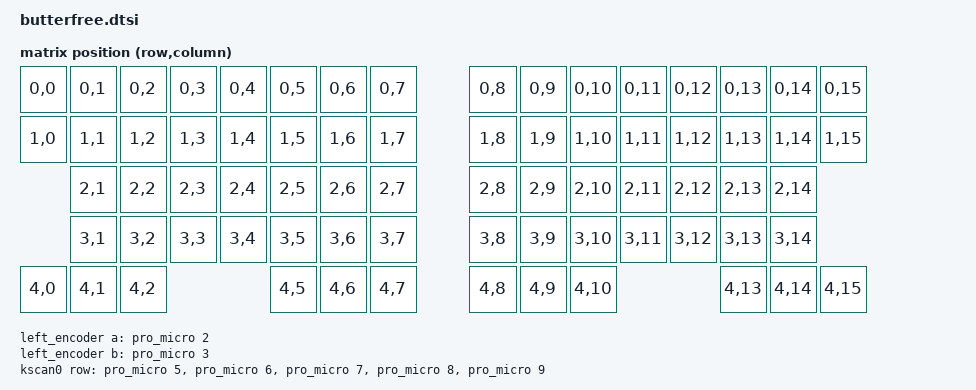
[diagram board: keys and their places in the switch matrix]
#include <physical_layouts.dtsi>
#include <dt-bindings/zmk/matrix_transform.h>

/ {
    chosen {
        zmk,physical-layout = &physical_layout0;
        zmk,kscan = &kscan0;
    };

    left_encoder: encoder_left {
        compatible = "alps,ec11";
        a-gpios = <&pro_micro 2 (GPIO_ACTIVE_HIGH | GPIO_PULL_UP)>;
        b-gpios = <&pro_micro 3 (GPIO_ACTIVE_HIGH | GPIO_PULL_UP)>;
        steps = <80>;
        status = "disabled";
    };
    
    sensors: sensors {
        compatible = "zmk,keymap-sensors";
        sensors = <&left_encoder>;
        triggers-per-rotation = <20>;
    };


    kscan0: kscan0 {
        compatible = "zmk,kscan-gpio-matrix";
        diode-direction = "col2row";
        wakeup-source;

        row-gpios
            = <&pro_micro 5 (GPIO_ACTIVE_HIGH | GPIO_PULL_DOWN)>
            , <&pro_micro 6 (GPIO_ACTIVE_HIGH | GPIO_PULL_DOWN)>
            , <&pro_micro 7 (GPIO_ACTIVE_HIGH | GPIO_PULL_DOWN)>
            , <&pro_micro 8 (GPIO_ACTIVE_HIGH | GPIO_PULL_DOWN)>
            , <&pro_micro 9 (GPIO_ACTIVE_HIGH | GPIO_PULL_DOWN)>
            ;

    };
    default_transform: keymap_transform_0 {
        compatible = "zmk,matrix-transform";
        columns = <16>;
        rows = <5>;
        map = <
RC(0,0) RC(0,1) RC(0,2) RC(0,3) RC(0,4) RC(0,5) RC(0,6) RC(0,7)         RC(0,8) RC(0,9) RC(0,10) RC(0,11) RC(0,12) RC(0,13) RC(0,14) RC(0,15)
RC(1,0) RC(1,1) RC(1,2) RC(1,3) RC(1,4) RC(1,5) RC(1,6) RC(1,7)         RC(1,8) RC(1,9) RC(1,10) RC(1,11) RC(1,12) RC(1,13) RC(1,14) RC(1,15)
        RC(2,1) RC(2,2) RC(2,3) RC(2,4) RC(2,5) RC(2,6) RC(2,7)         RC(2,8) RC(2,9) RC(2,10) RC(2,11) RC(2,12) RC(2,13) RC(2,14)
        RC(3,1) RC(3,2) RC(3,3) RC(3,4) RC(3,5) RC(3,6) RC(3,7)         RC(3,8) RC(3,9) RC(3,10) RC(3,11) RC(3,12) RC(3,13) RC(3,14)
RC(4,0) RC(4,1) RC(4,2)                 RC(4,5) RC(4,6) RC(4,7)         RC(4,8) RC(4,9) RC(4,10)                   RC(4,13) RC(4,14) RC(4,15) 
        >;
    };
    physical_layout0: physical_layout_0 {
        compatible = "zmk,physical-layout";
        display-name = "LAYOUT";

        kscan = <&kscan0>;
        transform = <&default_transform>;

        keys  //                     w   h    x    y     rot    rx    ry
            = <&key_physical_attrs 150 100    0   50       0     0     0>
            , <&key_physical_attrs 100 100  150   50       0     0     0>
            , <&key_physical_attrs 100 100  250   50       0     0     0>
            , <&key_physical_attrs 100 100  350   50       0     0     0>
            , <&key_physical_attrs 100 100  450   25       0     0     0>
            , <&key_physical_attrs 100 100  550    0       0     0     0>
            , <&key_physical_attrs 100 100  650   20       0     0     0>
            , <&key_physical_attrs 100 100  750   50       0     0     0>
            , <&key_physical_attrs 100 100 1125   50       0     0     0>
            , <&key_physical_attrs 100 100 1225   25       0     0     0>
            , <&key_physical_attrs 100 100 1325    0       0     0     0>
            , <&key_physical_attrs 100 100 1425   25       0     0     0>
            , <&key_physical_attrs 100 100 1525   50       0     0     0>
            , <&key_physical_attrs 100 100 1625   50       0     0     0>
            , <&key_physical_attrs 100 100 1725   50       0     0     0>
            , <&key_physical_attrs 150 100 1825   50       0     0     0>
            , <&key_physical_attrs 150 100    0  150       0     0     0>
            , <&key_physical_attrs 100 100  150  150       0     0     0>
            , <&key_physical_attrs 100 100  250  150       0     0     0>
            , <&key_physical_attrs 100 100  350  150       0     0     0>
            , <&key_physical_attrs 100 100  450  125       0     0     0>
            , <&key_physical_attrs 100 100  550  100       0     0     0>
            , <&key_physical_attrs 100 100  650  120       0     0     0>
            , <&key_physical_attrs 100 100  750  150       0     0     0>
            , <&key_physical_attrs 100 100 1125  150       0     0     0>
            , <&key_physical_attrs 100 100 1225  125       0     0     0>
            , <&key_physical_attrs 100 100 1325  100       0     0     0>
            , <&key_physical_attrs 100 100 1425  125       0     0     0>
            , <&key_physical_attrs 100 100 1525  150       0     0     0>
            , <&key_physical_attrs 100 100 1625  150       0     0     0>
            , <&key_physical_attrs 100 100 1725  150       0     0     0>
            , <&key_physical_attrs 150 100 1825  150       0     0     0>
            , <&key_physical_attrs 150 100  100  250       0     0     0>
            , <&key_physical_attrs 100 100  250  250       0     0     0>
            , <&key_physical_attrs 100 100  350  250       0     0     0>
            , <&key_physical_attrs 100 100  450  225       0     0     0>
            , <&key_physical_attrs 100 100  550  200       0     0     0>
            , <&key_physical_attrs 100 100  650  220       0     0     0>
            , <&key_physical_attrs 100 100  750  250       0     0     0>
            , <&key_physical_attrs 100 100 1125  250       0     0     0>
            , <&key_physical_attrs 100 100 1225  225       0     0     0>
            , <&key_physical_attrs 100 100 1325  200       0     0     0>
            , <&key_physical_attrs 100 100 1425  225       0     0     0>
            , <&key_physical_attrs 100 100 1525  250       0     0     0>
            , <&key_physical_attrs 100 100 1625  250       0     0     0>
            , <&key_physical_attrs 150 100 1725  250       0     0     0>
            , <&key_physical_attrs 100 100  100  350       0     0     0>
            , <&key_physical_attrs 150 100  200  350       0     0     0>
            , <&key_physical_attrs 100 100  350  350       0     0     0>
            , <&key_physical_attrs 100 100  450  325       0     0     0>
            , <&key_physical_attrs 100 100  550  300       0     0     0>
            , <&key_physical_attrs 100 100  650  320       0     0     0>
            , <&key_physical_attrs 100 100  750  350       0     0     0>
            , <&key_physical_attrs 100 100  750  350       0     0     0>
            , <&key_physical_attrs 100 100 1125  350       0     0     0>
            , <&key_physical_attrs 100 100 1225  325       0     0     0>
            , <&key_physical_attrs 100 100 1325  300       0     0     0>
            , <&key_physical_attrs 100 100 1425  325       0     0     0>
            , <&key_physical_attrs 100 100 1525  350       0     0     0>
            , <&key_physical_attrs 150 100 1625  350       0     0     0>
            , <&key_physical_attrs 100 100 1775  350       0     0     0>
            , <&key_physical_attrs 100 100    0  450       0     0     0>
            , <&key_physical_attrs 100 100  100  450       0     0     0>
            , <&key_physical_attrs 100 100  200  450       0     0     0>
            , <&key_physical_attrs 100 100  580  460       0     0     0>
            , <&key_physical_attrs 100 100  710  422    1500   550   450>
            , <&key_physical_attrs 100 150  825  300    3000   550   450>
            , <&key_physical_attrs 100 150 1025  420 (-3000)  1200   450>
            , <&key_physical_attrs 100 100 1145  650 (-1500)   550   450>
            , <&key_physical_attrs 100 100 1310  460       0     0     0>
            , <&key_physical_attrs 100 100 1675  450       0     0     0>
            , <&key_physical_attrs 100 100 1775  450       0     0     0>
            , <&key_physical_attrs 100 100 1875  450       0     0     0>
            ;
    };
};
